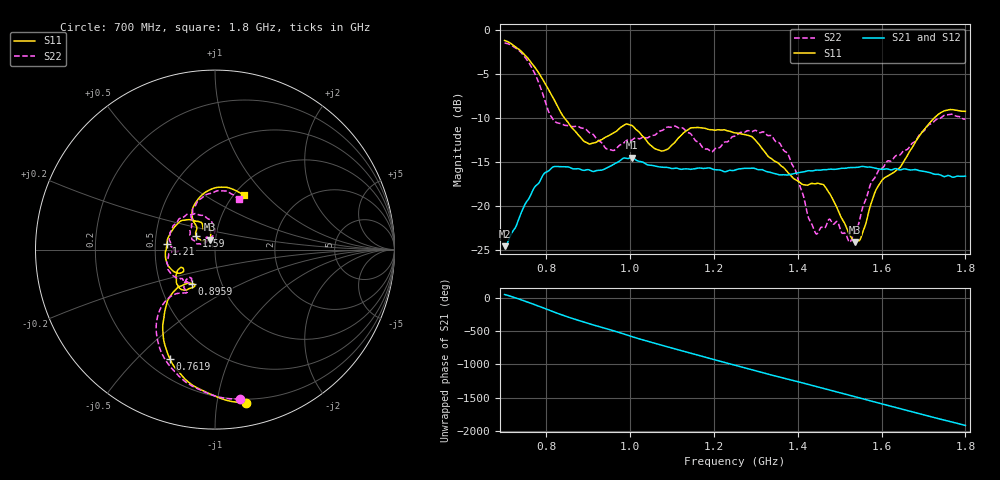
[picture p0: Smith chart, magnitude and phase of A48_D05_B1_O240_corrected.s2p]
! Created with skrf 1.9.0 (http://scikit-rf.org).
# Hz S RI R 50.0
!freq ReS11 ImS11 ReS21 ImS21 ReS12 ImS12 ReS22 ImS22
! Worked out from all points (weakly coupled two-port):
!   1601 points, 700 MHz to 1.8 GHz, reference 50 ohm
!   highest |S21| = -14.51 dB at 1.004 GHz (marker M1); lowest = -24.6 dB at 700.7 MHz (marker M2)
!   lowest |S11| = -24.1 dB at 1.537 GHz (marker M3), VSWR 1.13, Z = 46.9 + j5.2 ohm
!   |S11| at or under -10 dB: 842.6 MHz to 1.726 GHz (883.3 MHz wide, 68.8 % of centre)
!   |S22| runs from -24.1 to -1.5 dB; largest |S21 - S12| = 0.0034
!   S11 on the Smith chart (normalised r, x): 700 MHz: 0.17, -1.21; 761.9 MHz: 0.29, -0.63; 895.9 MHz: 0.72, -0.29; 1.21 GHz: 0.57, +0.04; 1.59 GHz: 0.80, +0.12; 1.8 GHz: 1.11, +0.77
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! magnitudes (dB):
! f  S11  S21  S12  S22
! 700 MHz  -1.2  -24.6  -24.3  -1.5
! 700.7 MHz  -1.2  -24.6  -24.2  -1.5
! 761.9 MHz  -3.6  -18.8  -18.7  -4.0
! 816.9 MHz  -7.8  -15.5  -15.6  -10.2
! 883.6 MHz  -12.3  -15.9  -15.8  -11.1
! 895.9 MHz  -12.8  -15.9  -16.0  -11.4
! 954.4 MHz  -11.9  -15.4  -15.4  -13.6
! 1.004 GHz  -10.9  -14.5  -14.6  -12.5
! 1.067 GHz  -13.6  -15.5  -15.5  -11.6
! 1.145 GHz  -11.1  -15.8  -15.8  -11.8
! 1.21 GHz  -11.3  -15.9  -15.9  -13.4
! 1.25 GHz  -11.7  -15.9  -15.8  -12.1
! 1.357 GHz  -15.3  -16.5  -16.4  -12.9
! 1.394 GHz  -17.0  -16.3  -16.3  -16.0
! 1.434 GHz  -17.4  -16.0  -16.0  -22.1
! 1.466 GHz  -17.9  -15.9  -15.9  -22.4
! 1.524 GHz  -23.3  -15.6  -15.6  -24.1
! 1.537 GHz  -24.1  -15.6  -15.6  -22.9
! 1.59 GHz  -17.9  -15.8  -15.7  -16.2
! 1.617 GHz  -16.5  -15.8  -15.8  -14.9
! 1.733 GHz  -9.7  -16.4  -16.4  -10.1
! 1.8 GHz  -9.3  -16.6  -16.6  -10.1
